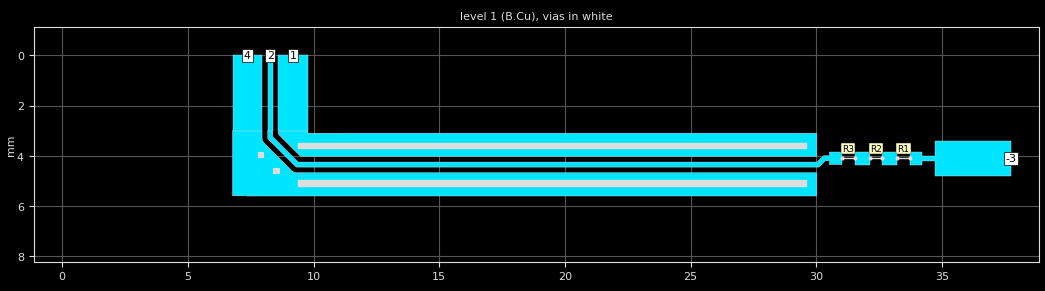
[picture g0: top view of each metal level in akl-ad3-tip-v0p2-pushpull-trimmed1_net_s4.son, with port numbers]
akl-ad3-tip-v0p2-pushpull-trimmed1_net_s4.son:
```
FTYP SONPROJ 19 ! Sonnet Project File
VER 18.01
HEADER
LIC antikernel2.1.51012 90e2ba8817c1 havequick azonenberg Level3Gold
DAT 09/27/2021 11:12:33
BUILT_BY_CREATED dxf 18.01 09/25/2021 05:46:11
BUILT_BY_SAVED sonnet 18.01
MDATE 09/27/2021 11:12:33
HDATE 09/27/2021 11:12:33
ANN Created by dxfgeo, Sonnet Software Inc.
END HEADER
DIM
ANG DEG
CAP PF
CON /OH
FREQ GHZ
IND NH
LNG MM
RES OH
END DIM
CONTROL
ABS
OPTIONS  -dj
SPEED 1
CACHE_ABS 2
Q_ACC N
END CONTROL
GEO
DRP1 RIGHT NONE 2
DRP1 TOP LINK
POLY 721 1
0
TMET "Free Space" 0 FREESPACE 376.7303136 0 0 0
BMET "Lossless" 0 SUP 0 0 0 0
MET "Copper 1oz thick" 1 TMM 58000000 0.5 0.035 2
MET "Unknown_metal" 1 VOL INF 0
BOX 2 37.75 7.075 3020 566 20 0
      5 1 1 0 0 0 0 "Air"
      0.035 4.3 1 0.02 0 0 0 "Soldermask"
      0.1016 3.2 1 0.002 0 0 0 "Panasonic R-F775"
TECHLAY METAL B.Cu L1D0 -1 -65534 
1 0 0 N 776 1 1 100 100 0 0 0 Y
END
END
TECHLAY VIA Via1 L2D0 -2 -65534 
VIA POLYGON
1 0 -1 N 779 1 1 100 100 0 0 0 Y
TOLEVEL 2 RING NOCOVERS
END
END
LORGN 0 160 U 
POR1 BOX
POLY 701 1
11
-3 50 0 0 0 37.75 4.1 
POR1 BOX
POLY 718 1
1
1 50 0 0 0 9.1875 0 
POR1 BOX
POLY 720 1
1
2 50 0 0 0 8.275 0 
POR1 BOX
POLY 721 1
1
4 50 0 0 0 7.362985097 0 
SMD 1 "R1"
ID 752
GNDREF AUTO
SBOX 33.35 33.6 3.975 4.225
PBSHW N
LPOS 33.475 3.975
TYPE SPARAM 1
SMDP 1 33.725 4.1 R 5 1 
EXSMDP
GNDREF AUTO
TERMW FEED
END EXSMDP
SMDP 1 33.225 4.1 L 6 2 
EXSMDP
GNDREF AUTO
TERMW FEED
END EXSMDP
END
SMD 1 "R2"
ID 758
GNDREF AUTO
SBOX 32.25 32.5 3.975 4.225
PBSHW N
LPOS 32.375 3.975
TYPE SPARAM 1
SMDP 1 32.625 4.1 R 7 1 
EXSMDP
GNDREF AUTO
TERMW FEED
END EXSMDP
SMDP 1 32.125 4.1 L 8 2 
EXSMDP
GNDREF AUTO
TERMW FEED
END EXSMDP
END
SMD 1 "R3"
ID 763
GNDREF AUTO
SBOX 31.15 31.4 3.975 4.225
PBSHW N
LPOS 31.275 3.975
TYPE SPARAM 2
SMDP 1 31.525 4.1 R 9 1 
EXSMDP
GNDREF AUTO
TERMW FEED
END EXSMDP
SMDP 1 31.025 4.1 L 10 2 
EXSMDP
GNDREF AUTO
TERMW FEED
END EXSMDP
END
NUM 13
1 34 0 N 695 1 1 100 100 0 0 0 Y
TLAYNAM B.Cu INH
9.775 3.1
10.768 3.1
10.773 3.101
10.78 3.101
10.784 3.1
11.45 3.1
11.45 3.099
29.919 3.099
29.9245 3.1
30.026 3.1
30.026 4.025
29.9 4.025
29.9 4.025
9.524 4.025
9.515 4.024
9.504 4.022
9.494 4.019
9.484 4.015
9.479 4.012
9.473 4.009
9.467 4.004
9.465 4.003
9.456 3.996
8.63 3.17
8.616 3.152
8.611 3.142
8.607 3.132
8.604 3.121
8.602 3.111
8.602 3.109
8.6 3.099
8.6 3
9.775 3
9.775 3.1
END
1 5 0 N 697 1 1 100 100 0 0 0 Y
TLAYNAM B.Cu INH
32.625 3.85
32.625 4.35
33.225 4.35
33.225 3.85
32.625 3.85
END
1 47 0 N 698 1 1 100 100 0 0 0 Y
TLAYNAM B.Cu INH
8.375 3.234
9.391 4.25
30.034 4.25
30.258 4.026
30.265 4.02
30.274 4.014
30.282 4.009
30.291 4.006
30.301 4.003
30.31 4.001
30.32 4
30.525 4
30.525 3.85
31.025 3.85
31.025 4.35
30.525 4.35
30.525 4.2
30.366 4.2
30.155 4.41
30.149 4.417
30.142 4.424
30.135 4.43
30.126 4.436
30.118 4.441
30.109 4.444
30.099 4.447
30.09 4.449
30.08 4.45
9.345 4.45
9.335 4.449
9.326 4.447
9.316 4.444
9.307 4.441
9.299 4.436
9.29 4.43
9.283 4.424
8.201 3.342
8.195 3.335
8.189 3.326
8.184 3.318
8.181 3.309
8.178 3.299
8.176 3.29
8.175 3.28
8.175 3
8.375 3
8.375 3.234
END
1 5 0 N 700 1 1 100 100 0 0 0 Y
TLAYNAM B.Cu INH
31.525 3.85
31.525 4.35
32.125 4.35
32.125 3.85
31.525 3.85
END
1 13 0 N 701 1 1 100 100 0 0 0 Y
TLAYNAM B.Cu INH
37.75 4.8
34.725 4.8
34.725 4.2
34.225 4.2
34.225 4.35
33.725 4.35
33.725 3.85
34.225 3.85
34.225 4
34.725 4
34.725 3.4
37.75 3.4
37.75 4.8
END
1 39 0 N 703 1 1 100 100 0 0 0 Y
TLAYNAM B.Cu INH
7.951 3.26
7.949 3.271
7.949 3.273
7.956 3.342
7.973 3.401
8.004 3.457
8.031 3.491
8.034 3.494
8.04 3.502
8.044 3.506
8.044 3.507
8.045 3.508
8.047 3.509
8.05 3.511
8.056 3.516
9.109 4.569
9.114 4.576
9.115 4.577
9.148 4.604
9.155 4.611
9.167 4.621
9.228 4.653
9.283 4.669
9.323 4.674
9.335 4.674
9.346 4.676
9.347 4.676
9.365 4.674
29.919 4.674
29.9245 4.675
30.026 4.675
30.026 5.6
7.325 5.6
7.325 5.594
6.775 5.594
6.775 3.706
6.775 3
7.950970194 3
7.951 3.26
END
VIA POLYGON
1 5 -1 N 705 1 1 100 100 0 0 0 Y
TOLEVEL 2 RING NOCOVERS
TLAYNAM Via1 INH
9.4 3.475
9.4 3.725
29.65 3.725
29.65 3.475
9.4 3.475
END
VIA POLYGON
1 5 -1 N 706 1 1 100 100 0 0 0 Y
TOLEVEL 2 RING NOCOVERS
TLAYNAM Via1 INH
8.4 4.475
8.4 4.725
8.65 4.725
8.65 4.475
8.4 4.475
END
VIA POLYGON
1 5 -1 N 707 1 1 100 100 0 0 0 Y
TOLEVEL 2 RING NOCOVERS
TLAYNAM Via1 INH
9.4 4.975
9.4 5.225
29.65 5.225
29.65 4.975
9.4 4.975
END
VIA POLYGON
1 5 -1 N 708 1 1 100 100 0 0 0 Y
TOLEVEL 2 RING NOCOVERS
TLAYNAM Via1 INH
7.775 3.85
7.775 4.1
8.025 4.1
8.025 3.85
7.775 3.85
END
1 5 -1 N 718 1 1 100 100 0 0 0 Y
8.6 3
8.6 0
9.775 0
9.775 3
8.6 3
END
1 5 -1 N 720 1 1 100 100 0 0 0 Y
8.175 3
8.175 0
8.375 0
8.375 3
8.175 3
END
1 5 -1 N 721 1 1 100 100 0 0 0 Y
6.775 3
6.775 0
7.950970194 0
7.950970194 3
6.775 3
END
END GEO
OPT
MAX 100
END OPT
VARSWP
ENABLED Y
FREQ Y AY ABS_ENTRY 0.1 20.0 -1 300 
END
END VARSWP
SMDFILES
1 "../../../../../../../bulk/datasheets/Vishay/Resistors/FC/0402/FC0402-FlipChip-200 Ohm.s2p"
2 "../../../../../../../bulk/datasheets/Vishay/Resistors/FC/0402/FC0402-FlipChip-50 Ohm.s2p"
END SMDFILES
```
